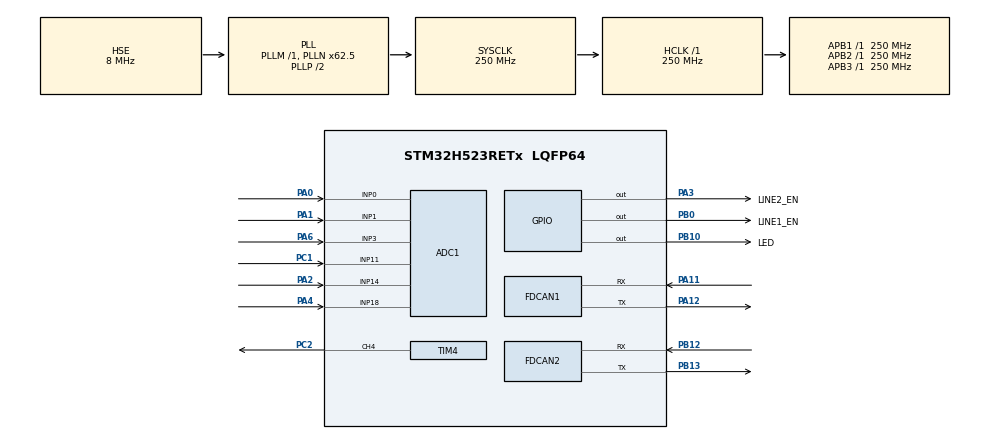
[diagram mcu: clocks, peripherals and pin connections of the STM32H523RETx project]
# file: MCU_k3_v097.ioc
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ADC1.Channel-10\#ChannelRegularConversion=ADC_CHANNEL_18
ADC1.Channel-5\#ChannelRegularConversion=ADC_CHANNEL_0
ADC1.Channel-6\#ChannelRegularConversion=ADC_CHANNEL_1
ADC1.Channel-7\#ChannelRegularConversion=ADC_CHANNEL_3
ADC1.Channel-8\#ChannelRegularConversion=ADC_CHANNEL_11
ADC1.Channel-9\#ChannelRegularConversion=ADC_CHANNEL_14
ADC1.ContinuousConvMode=ENABLE
ADC1.DMAContinuousRequests=ENABLE
ADC1.MonitoredBy-10\#ChannelRegularConversion=__NULL
ADC1.MonitoredBy-5\#ChannelRegularConversion=__NULL
ADC1.MonitoredBy-6\#ChannelRegularConversion=__NULL
ADC1.MonitoredBy-7\#ChannelRegularConversion=__NULL
ADC1.MonitoredBy-8\#ChannelRegularConversion=__NULL
ADC1.MonitoredBy-9\#ChannelRegularConversion=__NULL
ADC1.NbrOfConversion=6
ADC1.NbrOfConversionFlag=1
ADC1.OffsetNumber-10\#ChannelRegularConversion=ADC_OFFSET_NONE
ADC1.OffsetNumber-5\#ChannelRegularConversion=ADC_OFFSET_NONE
ADC1.OffsetNumber-6\#ChannelRegularConversion=ADC_OFFSET_NONE
ADC1.OffsetNumber-7\#ChannelRegularConversion=ADC_OFFSET_NONE
ADC1.OffsetNumber-8\#ChannelRegularConversion=ADC_OFFSET_NONE
ADC1.OffsetNumber-9\#ChannelRegularConversion=ADC_OFFSET_NONE
ADC1.Rank-10\#ChannelRegularConversion=6
ADC1.Rank-5\#ChannelRegularConversion=1
ADC1.Rank-6\#ChannelRegularConversion=2
ADC1.Rank-7\#ChannelRegularConversion=3
ADC1.Rank-8\#ChannelRegularConversion=4
ADC1.Rank-9\#ChannelRegularConversion=5
ADC1.SamplingTime-10\#ChannelRegularConversion=ADC_SAMPLETIME_640CYCLES_5
ADC1.SamplingTime-5\#ChannelRegularConversion=ADC_SAMPLETIME_640CYCLES_5
ADC1.SamplingTime-6\#ChannelRegularConversion=ADC_SAMPLETIME_640CYCLES_5
ADC1.SamplingTime-7\#ChannelRegularConversion=ADC_SAMPLETIME_640CYCLES_5
ADC1.SamplingTime-8\#ChannelRegularConversion=ADC_SAMPLETIME_640CYCLES_5
ADC1.SamplingTime-9\#ChannelRegularConversion=ADC_SAMPLETIME_640CYCLES_5
ADC1.master=1
BOOTPATH.BootPathName=LEGACY
BOOTPATH.UserSelectedBootPath=LEGACY
CORTEX_M33_NS.userName=CORTEX_M33
DTS.Divider=10
DTS.RefClock=DTS_REFCLKSEL_PCLK
DTS.SamplingTime=DTS_SMP_TIME_15_CYCLE
FDCAN1.AutoRetransmission=ENABLE
FDCAN1.CalculateBaudRateNominal=250000
FDCAN1.CalculateTimeBitNominal=4000
FDCAN1.CalculateTimeQuantumNominal=250.0
FDCAN1.DataSyncJumpWidth=3
FDCAN1.DataTimeSeg1=21
FDCAN1.ExtFiltersNbr=1
FDCAN1.NominalPrescaler=2
FDCAN1.NominalSyncJumpWidth=1
FDCAN1.NominalTimeSeg1=12
FDCAN1.NominalTimeSeg2=3
FDCAN1.StdFiltersNbr=1
FDCAN2.AutoRetransmission=ENABLE
FDCAN2.CalculateBaudRateNominal=250000
FDCAN2.CalculateTimeBitNominal=4000
FDCAN2.CalculateTimeQuantumNominal=250.0
FDCAN2.DataSyncJumpWidth=3
FDCAN2.DataTimeSeg1=21
FDCAN2.ExtFiltersNbr=1
FDCAN2.NominalPrescaler=2
FDCAN2.NominalSyncJumpWidth=1
FDCAN2.NominalTimeSeg1=12
FDCAN2.NominalTimeSeg2=3
FDCAN2.StdFiltersNbr=1
GPDMA1.CIRCULARMODE_GPDMACH0=ENABLE
GPDMA1.DESTDATAWIDTH_GPDMACH0=DMA_DEST_DATAWIDTH_HALFWORD
GPDMA1.DESTINC_GPDMACH0=DMA_DINC_INCREMENTED
GPDMA1.IPHANDLE_GPDMACH0-SIMPLEREQUEST_GPDMACH0=__NULL
GPDMA1.REQUEST_GPDMACH0=GPDMA1_REQUEST_ADC1
GPDMA1.SRCDATAWIDTH_GPDMACH0=DMA_SRC_DATAWIDTH_HALFWORD
Mcu.Family=STM32H5
Mcu.Name=STM32H523RETx
Mcu.Package=LQFP64
NVIC.ADC1_IRQn=true\:5\:0\:true\:false\:true\:true\:true\:true
NVIC.DTS_IRQn=true\:12\:0\:true\:false\:true\:true\:true\:true
NVIC.FDCAN1_IT0_IRQn=true\:1\:0\:true\:false\:true\:true\:true\:true
NVIC.FDCAN2_IT0_IRQn=true\:2\:0\:true\:false\:true\:true\:true\:true
NVIC.GPDMA1_Channel0_IRQn=true\:9\:0\:true\:false\:true\:false\:true\:true
NVIC.PriorityGroup=NVIC_PRIORITYGROUP_4
PA0.Signal=ADCx_INP0
PA1.Signal=ADCx_INP1
PA11.GPIO_Speed=GPIO_SPEED_FREQ_VERY_HIGH
PA11.Mode=FDCAN_Activate
PA11.Signal=FDCAN1_RX
PA12.GPIO_Speed=GPIO_SPEED_FREQ_VERY_HIGH
PA12.Mode=FDCAN_Activate
PA12.Signal=FDCAN1_TX
PA2.Signal=ADCx_INP14
PA3.GPIO_Label=LINE2_EN
PA3.Signal=GPIO_Output
PA4.Signal=ADCx_INP18
PA6.Signal=ADCx_INP3
PB0.GPIO_Label=LINE1_EN
PB0.Signal=GPIO_Output
PB10.GPIO_Label=LED
PB10.Signal=GPIO_Output
PB12.GPIO_Speed=GPIO_SPEED_FREQ_VERY_HIGH
PB12.Mode=FDCAN_Activate
PB12.Signal=FDCAN2_RX
PB13.GPIO_Speed=GPIO_SPEED_FREQ_VERY_HIGH
PB13.Mode=FDCAN_Activate
PB13.Signal=FDCAN2_TX
PC1.Signal=ADCx_INP11
PC2.Signal=S_TIM4_CH4
PH0-OSC_IN(PH0).Mode=HSE-External-Oscillator
PH0-OSC_IN(PH0).Signal=RCC_OSC_IN
PH1-OSC_OUT(PH1).Mode=HSE-External-Oscillator
PH1-OSC_OUT(PH1).Signal=RCC_OSC_OUT
ProjectManager.HeapSize=0x200
ProjectManager.StackSize=0x400
ProjectManager.TargetToolchain=STM32CubeIDE
RCC.ADCFreq_Value=250000000
RCC.AHBFreq_Value=250000000
RCC.APB1Freq_Value=250000000
RCC.APB1TimFreq_Value=250000000
RCC.APB2Freq_Value=250000000
RCC.APB2TimFreq_Value=250000000
RCC.APB3Freq_Value=250000000
RCC.CSI_VALUE=4000000
RCC.CortexFreq_Value=250000000
RCC.EPOD_VALUE=8000000
RCC.HCLKFreq_Value=250000000
RCC.HSE_VALUE=8000000
RCC.HSI48_VALUE=48000000
RCC.HSI_VALUE=64000000
RCC.LSE_VALUE=32768
RCC.LSIRC_VALUE=32000
RCC.PLL1Q=125
RCC.PLL2FRACN=0
RCC.PLL2N=20
RCC.PLL2Source=RCC_PLL2_SOURCE_HSE
RCC.PLL3FRACN=0
RCC.PLL3Source=RCC_PLL3_SOURCE_HSE
RCC.PLLFRACN=4096
RCC.PLLN=62
RCC.PLLSourceVirtual=RCC_PLL1_SOURCE_HSE
RCC.SYSCLKFreq_VALUE=250000000
RCC.SYSCLKSource=RCC_SYSCLKSOURCE_PLLCLK
RCC.USBFreq_Value=48000000
RCC.VCOOutputFreq_Value=500000000
SH.ADCx_INP0.0=ADC1_INP0,IN0-Single-Ended
SH.ADCx_INP1.0=ADC1_INP1,IN1-Single-Ended
SH.ADCx_INP11.0=ADC1_INP11,IN11-Single-Ended
SH.ADCx_INP14.0=ADC1_INP14,IN14-Single-Ended
SH.ADCx_INP18.0=ADC1_INP18,IN18-Single-Ended
SH.ADCx_INP3.0=ADC1_INP3,IN3-Single-Ended
SH.S_TIM4_CH4.0=TIM4_CH4,PWM Generation4 CH4
TIM4.Channel-PWM\ Generation4\ CH4=TIM_CHANNEL_4
TIM4.PeriodNoDither=99
TIM4.Prescaler=31
VP_BOOTPATH_VS_BOOTPATH.Mode=BP_Activate
VP_CORTEX_M33_NS_VS_Hclk.Mode=Hclk_Mode
VP_DTS_VS-DTS.Mode=DTS
VP_GPDMA1_VS_GPDMACH0.Mode=SIMPLEREQUEST_GPDMACH0
VP_MEMORYMAP_VS_MEMORYMAP.Mode=CurAppReg
VP_PWR_VS_LPOM.Mode=PowerOptimisation
VP_PWR_VS_SECSignals.Mode=Security/Privilege
VP_TIM4_VS_ClockSourceINT.Mode=Internal
board=custom

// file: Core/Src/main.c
/* USER CODE BEGIN Header */
/**
  ******************************************************************************
  * @file           : main.c
  * @brief          : Main program body
  ******************************************************************************
  * @attention
  *
  * Copyright (c) 2026 STMicroelectronics.
  * All rights reserved.
  *
  * This software is licensed under terms that can be found in the LICENSE file
  * in the root directory of this software component.
  * If no LICENSE file comes with this software, it is provided AS-IS.
  *
  ******************************************************************************
  */
/* USER CODE END Header */
#include "main.h"

/* USER CODE BEGIN Includes */
#include "backend.h"
#include "app.h"

/* USER CODE END Includes */

ADC_HandleTypeDef hadc1;
DMA_NodeTypeDef Node_GPDMA1_Channel0;
DMA_QListTypeDef List_GPDMA1_Channel0;
DMA_HandleTypeDef handle_GPDMA1_Channel0;

DTS_HandleTypeDef hdts;

FDCAN_HandleTypeDef hfdcan1;
FDCAN_HandleTypeDef hfdcan2;

TIM_HandleTypeDef htim4;

void SystemClock_Config(void);
static void MX_GPIO_Init(void);
static void MX_GPDMA1_Init(void);
static void MX_ADC1_Init(void);
static void MX_FDCAN1_Init(void);
static void MX_FDCAN2_Init(void);
static void MX_TIM4_Init(void);
static void MX_DTS_Init(void);

/* USER CODE BEGIN 0 */
/* CAN transport moved to Core/Src/can.cpp */
/* USER CODE END 0 */

int main(void)
{

  /* MCU Configuration--------------------------------------------------------*/

  /* Reset of all peripherals, Initializes the Flash interface and the Systick. */
  HAL_Init();

  /* Configure the system clock */
  SystemClock_Config();

  /* Initialize all configured peripherals */
  MX_GPIO_Init();
  MX_GPDMA1_Init();
  MX_ADC1_Init();
  MX_FDCAN1_Init();
  MX_FDCAN2_Init();
  MX_TIM4_Init();
  MX_DTS_Init();
  /* USER CODE BEGIN 2 */
  if (HAL_DTS_Start(&hdts) != HAL_OK)
  {
    Error_Handler();
  }
  HAL_SetTickFreq(HAL_TICK_FREQ_1KHZ);
  FDCAN_StartAll();
  App_Init();
  HAL_ADC_Start_DMA(&hadc1, (uint32_t *)MCU_K3_ADC_VAL, MCU_K3_NUM_ADC_CHANNEL);

  /* USER CODE END 2 */

  /* Infinite loop */
  while (1)
  {

    /* USER CODE BEGIN 3 */
    static uint32_t last_tick = 0;
    uint32_t now = HAL_GetTick();
    if (now != last_tick) {
      last_tick = now;
      App_Timer1ms();
      //App_CanTxProcess();
    }
    App_CanProcess();
    App_CanTxProcess();
  }
  /* USER CODE END 3 */
}

void SystemClock_Config(void)
{
  RCC_OscInitTypeDef RCC_OscInitStruct = {0};
  RCC_ClkInitTypeDef RCC_ClkInitStruct = {0};

  /** Configure the main internal regulator output voltage
  */
  __HAL_PWR_VOLTAGESCALING_CONFIG(PWR_REGULATOR_VOLTAGE_SCALE0);

  while(!__HAL_PWR_GET_FLAG(PWR_FLAG_VOSRDY)) {}

  /** Initializes the RCC Oscillators according to the specified parameters
  * in the RCC_OscInitTypeDef structure.
  */
  RCC_OscInitStruct.OscillatorType = RCC_OSCILLATORTYPE_HSE;
  RCC_OscInitStruct.HSEState = RCC_HSE_ON;
  RCC_OscInitStruct.PLL.PLLState = RCC_PLL_ON;
  RCC_OscInitStruct.PLL.PLLSource = RCC_PLL1_SOURCE_HSE;
  RCC_OscInitStruct.PLL.PLLM = 1;
  RCC_OscInitStruct.PLL.PLLN = 62;
  RCC_OscInitStruct.PLL.PLLP = 2;
  RCC_OscInitStruct.PLL.PLLQ = 125;
  RCC_OscInitStruct.PLL.PLLR = 2;
  RCC_OscInitStruct.PLL.PLLRGE = RCC_PLL1_VCIRANGE_3;
  RCC_OscInitStruct.PLL.PLLVCOSEL = RCC_PLL1_VCORANGE_WIDE;
  RCC_OscInitStruct.PLL.PLLFRACN = 4096;
  if (HAL_RCC_OscConfig(&RCC_OscInitStruct) != HAL_OK)
  {
    Error_Handler();
  }

  /** Initializes the CPU, AHB and APB buses clocks
  */
  RCC_ClkInitStruct.ClockType = RCC_CLOCKTYPE_HCLK|RCC_CLOCKTYPE_SYSCLK
                              |RCC_CLOCKTYPE_PCLK1|RCC_CLOCKTYPE_PCLK2
                              |RCC_CLOCKTYPE_PCLK3;
  RCC_ClkInitStruct.SYSCLKSource = RCC_SYSCLKSOURCE_PLLCLK;
  RCC_ClkInitStruct.AHBCLKDivider = RCC_SYSCLK_DIV1;
  RCC_ClkInitStruct.APB1CLKDivider = RCC_HCLK_DIV1;
  RCC_ClkInitStruct.APB2CLKDivider = RCC_HCLK_DIV1;
  RCC_ClkInitStruct.APB3CLKDivider = RCC_HCLK_DIV1;

  if (HAL_RCC_ClockConfig(&RCC_ClkInitStruct, FLASH_LATENCY_5) != HAL_OK)
  {
    Error_Handler();
  }

  /** Configure the programming delay
  */
  __HAL_FLASH_SET_PROGRAM_DELAY(FLASH_PROGRAMMING_DELAY_2);
}

static void MX_ADC1_Init(void)
{

  ADC_ChannelConfTypeDef sConfig = {0};

  /** Common config
  */
  hadc1.Instance = ADC1;
  hadc1.Init.ClockPrescaler = ADC_CLOCK_ASYNC_DIV4;
  hadc1.Init.Resolution = ADC_RESOLUTION_12B;
  hadc1.Init.DataAlign = ADC_DATAALIGN_RIGHT;
  hadc1.Init.ScanConvMode = ADC_SCAN_ENABLE;
  hadc1.Init.EOCSelection = ADC_EOC_SINGLE_CONV;
  hadc1.Init.LowPowerAutoWait = DISABLE;
  hadc1.Init.ContinuousConvMode = ENABLE;
  hadc1.Init.NbrOfConversion = 6;
  hadc1.Init.DiscontinuousConvMode = DISABLE;
  hadc1.Init.ExternalTrigConv = ADC_SOFTWARE_START;
  hadc1.Init.ExternalTrigConvEdge = ADC_EXTERNALTRIGCONVEDGE_NONE;
  hadc1.Init.DMAContinuousRequests = ENABLE;
  hadc1.Init.SamplingMode = ADC_SAMPLING_MODE_NORMAL;
  hadc1.Init.Overrun = ADC_OVR_DATA_PRESERVED;
  hadc1.Init.OversamplingMode = DISABLE;
  if (HAL_ADC_Init(&hadc1) != HAL_OK)
  {
    Error_Handler();
  }

  /** Configure Regular Channel
  */
  sConfig.Channel = ADC_CHANNEL_0;
  sConfig.Rank = ADC_REGULAR_RANK_1;
  sConfig.SamplingTime = ADC_SAMPLETIME_640CYCLES_5;
  sConfig.SingleDiff = ADC_SINGLE_ENDED;
  sConfig.OffsetNumber = ADC_OFFSET_NONE;
  sConfig.Offset = 0;
  if (HAL_ADC_ConfigChannel(&hadc1, &sConfig) != HAL_OK)
  {
    Error_Handler();
  }

  /** Configure Regular Channel
  */
  sConfig.Channel = ADC_CHANNEL_1;
  sConfig.Rank = ADC_REGULAR_RANK_2;
  if (HAL_ADC_ConfigChannel(&hadc1, &sConfig) != HAL_OK)
  {
    Error_Handler();
  }

  /** Configure Regular Channel
  */
  sConfig.Channel = ADC_CHANNEL_3;
  sConfig.Rank = ADC_REGULAR_RANK_3;
  if (HAL_ADC_ConfigChannel(&hadc1, &sConfig) != HAL_OK)
  {
    Error_Handler();
  }

  /** Configure Regular Channel
  */
  sConfig.Channel = ADC_CHANNEL_11;
  sConfig.Rank = ADC_REGULAR_RANK_4;
  if (HAL_ADC_ConfigChannel(&hadc1, &sConfig) != HAL_OK)
  {
    Error_Handler();
  }

  /** Configure Regular Channel
  */
  sConfig.Channel = ADC_CHANNEL_14;
  sConfig.Rank = ADC_REGULAR_RANK_5;
  if (HAL_ADC_ConfigChannel(&hadc1, &sConfig) != HAL_OK)
  {
    Error_Handler();
  }

  /** Configure Regular Channel
  */
  sConfig.Channel = ADC_CHANNEL_18;
  sConfig.Rank = ADC_REGULAR_RANK_6;
  if (HAL_ADC_ConfigChannel(&hadc1, &sConfig) != HAL_OK)
  {
    Error_Handler();
  }

}

static void MX_DTS_Init(void)
{

  hdts.Instance = DTS;
  hdts.Init.QuickMeasure = DTS_QUICKMEAS_DISABLE;
  hdts.Init.RefClock = DTS_REFCLKSEL_PCLK;
  hdts.Init.TriggerInput = DTS_TRIGGER_HW_NONE;
  hdts.Init.SamplingTime = DTS_SMP_TIME_15_CYCLE;
  hdts.Init.Divider = 10;
  hdts.Init.HighThreshold = 0x0;
  hdts.Init.LowThreshold = 0x0;
  if (HAL_DTS_Init(&hdts) != HAL_OK)
  {
    Error_Handler();
  }

}

static void MX_FDCAN1_Init(void)
{

  hfdcan1.Instance = FDCAN1;
  hfdcan1.Init.ClockDivider = FDCAN_CLOCK_DIV1;
  hfdcan1.Init.FrameFormat = FDCAN_FRAME_CLASSIC;
  hfdcan1.Init.Mode = FDCAN_MODE_NORMAL;
  hfdcan1.Init.AutoRetransmission = ENABLE;
  hfdcan1.Init.TransmitPause = DISABLE;
  hfdcan1.Init.ProtocolException = DISABLE;
  hfdcan1.Init.NominalPrescaler = 2;
  hfdcan1.Init.NominalSyncJumpWidth = 1;
  hfdcan1.Init.NominalTimeSeg1 = 12;
  hfdcan1.Init.NominalTimeSeg2 = 3;
  hfdcan1.Init.DataPrescaler = 1;
  hfdcan1.Init.DataSyncJumpWidth = 3;
  hfdcan1.Init.DataTimeSeg1 = 21;
  hfdcan1.Init.DataTimeSeg2 = 1;
  hfdcan1.Init.StdFiltersNbr = 1;
  hfdcan1.Init.ExtFiltersNbr = 1;
  hfdcan1.Init.TxFifoQueueMode = FDCAN_TX_FIFO_OPERATION;
  if (HAL_FDCAN_Init(&hfdcan1) != HAL_OK)
  {
    Error_Handler();
  }

}

static void MX_FDCAN2_Init(void)
{

  hfdcan2.Instance = FDCAN2;
  hfdcan2.Init.ClockDivider = FDCAN_CLOCK_DIV1;
  hfdcan2.Init.FrameFormat = FDCAN_FRAME_CLASSIC;
  hfdcan2.Init.Mode = FDCAN_MODE_NORMAL;
  hfdcan2.Init.AutoRetransmission = ENABLE;
  hfdcan2.Init.TransmitPause = DISABLE;
  hfdcan2.Init.ProtocolException = DISABLE;
  hfdcan2.Init.NominalPrescaler = 2;
  hfdcan2.Init.NominalSyncJumpWidth = 1;
  hfdcan2.Init.NominalTimeSeg1 = 12;
  hfdcan2.Init.NominalTimeSeg2 = 3;
  hfdcan2.Init.DataPrescaler = 1;
  hfdcan2.Init.DataSyncJumpWidth = 3;
  hfdcan2.Init.DataTimeSeg1 = 21;
  hfdcan2.Init.DataTimeSeg2 = 1;
  hfdcan2.Init.StdFiltersNbr = 1;
  hfdcan2.Init.ExtFiltersNbr = 1;
  hfdcan2.Init.TxFifoQueueMode = FDCAN_TX_FIFO_OPERATION;
  if (HAL_FDCAN_Init(&hfdcan2) != HAL_OK)
  {
    Error_Handler();
  }

}

static void MX_GPDMA1_Init(void)
{

  /* Peripheral clock enable */
  __HAL_RCC_GPDMA1_CLK_ENABLE();

  /* GPDMA1 interrupt Init */
    HAL_NVIC_SetPriority(GPDMA1_Channel0_IRQn, 9, 0);
    HAL_NVIC_EnableIRQ(GPDMA1_Channel0_IRQn);

}

static void MX_TIM4_Init(void)
{

  TIM_ClockConfigTypeDef sClockSourceConfig = {0};
  TIM_MasterConfigTypeDef sMasterConfig = {0};
  TIM_OC_InitTypeDef sConfigOC = {0};

  htim4.Instance = TIM4;
  htim4.Init.Prescaler = 31;
  htim4.Init.CounterMode = TIM_COUNTERMODE_UP;
  htim4.Init.Period = 99;
  htim4.Init.ClockDivision = TIM_CLOCKDIVISION_DIV1;
  htim4.Init.AutoReloadPreload = TIM_AUTORELOAD_PRELOAD_DISABLE;
  if (HAL_TIM_Base_Init(&htim4) != HAL_OK)
  {
    Error_Handler();
  }
  sClockSourceConfig.ClockSource = TIM_CLOCKSOURCE_INTERNAL;
  if (HAL_TIM_ConfigClockSource(&htim4, &sClockSourceConfig) != HAL_OK)
  {
    Error_Handler();
  }
  if (HAL_TIM_PWM_Init(&htim4) != HAL_OK)
  {
    Error_Handler();
  }
  sMasterConfig.MasterOutputTrigger = TIM_TRGO_RESET;
  sMasterConfig.MasterSlaveMode = TIM_MASTERSLAVEMODE_DISABLE;
  if (HAL_TIMEx_MasterConfigSynchronization(&htim4, &sMasterConfig) != HAL_OK)
  {
    Error_Handler();
  }
  sConfigOC.OCMode = TIM_OCMODE_PWM1;
  sConfigOC.Pulse = 0;
  sConfigOC.OCPolarity = TIM_OCPOLARITY_HIGH;
  sConfigOC.OCFastMode = TIM_OCFAST_DISABLE;
  if (HAL_TIM_PWM_ConfigChannel(&htim4, &sConfigOC, TIM_CHANNEL_4) != HAL_OK)
  {
    Error_Handler();
  }
  HAL_TIM_MspPostInit(&htim4);

}

static void MX_GPIO_Init(void)
{
  GPIO_InitTypeDef GPIO_InitStruct = {0};

  /* GPIO Ports Clock Enable */
  __HAL_RCC_GPIOH_CLK_ENABLE();
  __HAL_RCC_GPIOC_CLK_ENABLE();
  __HAL_RCC_GPIOA_CLK_ENABLE();
  __HAL_RCC_GPIOB_CLK_ENABLE();

  /*Configure GPIO pin Output Level */
  HAL_GPIO_WritePin(LINE2_EN_GPIO_Port, LINE2_EN_Pin, GPIO_PIN_RESET);

  /*Configure GPIO pin Output Level */
  HAL_GPIO_WritePin(GPIOB, LINE1_EN_Pin|LED_Pin, GPIO_PIN_RESET);

  /*Configure GPIO pin : LINE2_EN_Pin */
  GPIO_InitStruct.Pin = LINE2_EN_Pin;
  GPIO_InitStruct.Mode = GPIO_MODE_OUTPUT_PP;
  GPIO_InitStruct.Pull = GPIO_NOPULL;
  GPIO_InitStruct.Speed = GPIO_SPEED_FREQ_LOW;
  HAL_GPIO_Init(LINE2_EN_GPIO_Port, &GPIO_InitStruct);

  /*Configure GPIO pins : LINE1_EN_Pin LED_Pin */
  GPIO_InitStruct.Pin = LINE1_EN_Pin|LED_Pin;
  GPIO_InitStruct.Mode = GPIO_MODE_OUTPUT_PP;
  GPIO_InitStruct.Pull = GPIO_NOPULL;
  GPIO_InitStruct.Speed = GPIO_SPEED_FREQ_LOW;
  HAL_GPIO_Init(GPIOB, &GPIO_InitStruct);

}

void Error_Handler(void)
{
  __disable_irq();
  while (1)
  {
  }
}
